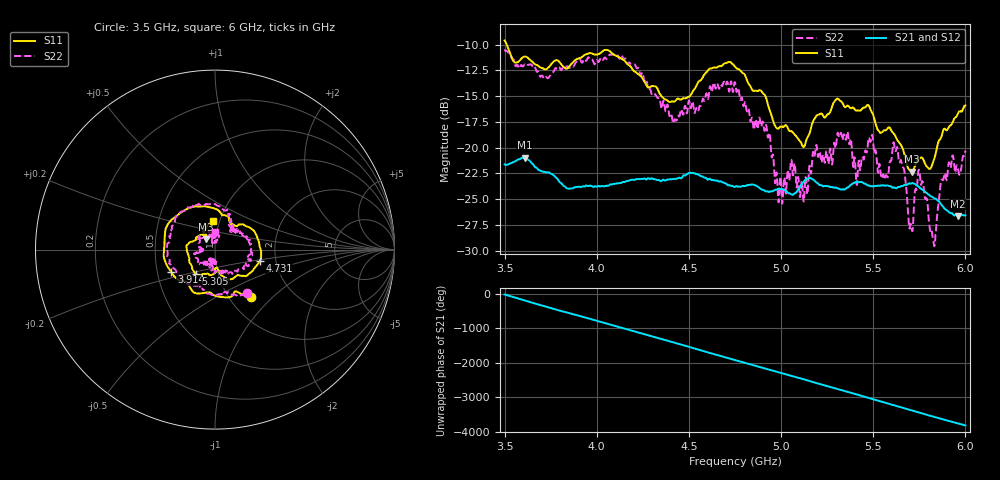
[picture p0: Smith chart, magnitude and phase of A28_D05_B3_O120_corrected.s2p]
! Created with skrf 1.9.0 (http://scikit-rf.org).
# Hz S RI R 50.0
!freq ReS11 ImS11 ReS21 ImS21 ReS12 ImS12 ReS22 ImS22
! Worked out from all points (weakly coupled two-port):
!   1601 points, 3.5 GHz to 6 GHz, reference 50 ohm
!   highest |S21| = -20.98 dB at 3.609 GHz (marker M1); lowest = -26.6 dB at 5.958 GHz (marker M2)
!   lowest |S11| = -22.3 dB at 5.709 GHz (marker M3), VSWR 1.17, Z = 45 + j5.25 ohm
!   |S11| at or under -10 dB: 3.512 GHz to end of sweep
!   |S22| runs from -29.6 to -10.5 dB; largest |S21 - S12| = 0.00094
!   S11 on the Smith chart (normalised r, x): 3.5 GHz: 1.26, -0.75; 3.914 GHz: 0.59, -0.16; 4.731 GHz: 1.64, -0.23; 5.305 GHz: 0.78, -0.22; 6 GHz: 0.93, +0.31
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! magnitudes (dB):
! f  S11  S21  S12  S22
! 3.5 GHz  -9.6  -21.6  -21.6  -10.5
! 3.609 GHz  -11.2  -21.0  -21.0  -11.9
! 3.914 GHz  -11.3  -23.8  -23.8  -11.6
! 3.917 GHz  -11.2  -23.8  -23.8  -11.7
! 4.144 GHz  -11.5  -23.3  -23.3  -11.4
! 4.334 GHz  -14.5  -23.1  -23.1  -15.2
! 4.423 GHz  -15.5  -23.0  -23.0  -17.2
! 4.731 GHz  -11.8  -23.7  -23.7  -13.7
! 4.75 GHz  -12.1  -23.8  -23.7  -13.7
! 4.928 GHz  -15.8  -24.3  -24.2  -19.0
! 4.995 GHz  -18.0  -24.0  -24.0  -22.8
! 5.131 GHz  -19.7  -23.1  -23.1  -23.1
! 5.167 GHz  -17.8  -23.0  -23.0  -21.6
! 5.305 GHz  -15.2  -23.9  -23.9  -18.7
! 5.584 GHz  -18.0  -23.7  -23.7  -22.2
! 5.622 GHz  -18.9  -23.9  -23.9  -20.3
! 5.709 GHz  -22.3  -23.5  -23.4  -28.0
! 5.755 GHz  -21.0  -23.9  -23.9  -22.9
! 5.83 GHz  -21.2  -24.9  -24.9  -29.4
! 5.877 GHz  -18.5  -25.7  -25.6  -23.1
! 5.958 GHz  -16.7  -26.6  -26.6  -22.0
! 6 GHz  -15.9  -26.6  -26.5  -20.3
